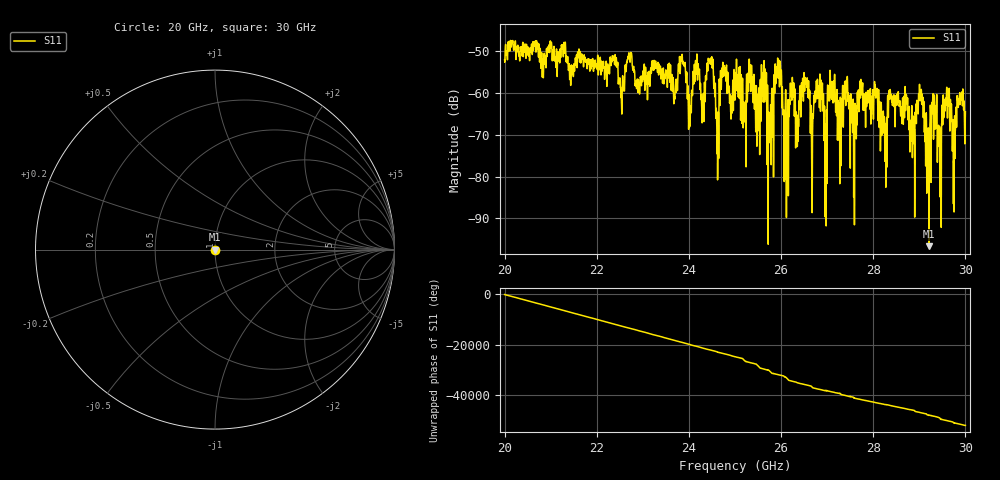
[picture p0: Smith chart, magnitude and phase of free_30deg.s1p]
#  HZ  S  RI  R  50.00
! Rohde & Schwarz ZVA40 4Ports - Version 3.90 - 1145.1110k42 SN: 100403
! Date: 2023-09-30 07:36:56
! Measurement: S12
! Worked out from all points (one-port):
!   5001 points, 20 GHz to 30 GHz, reference 50 ohm
!   lowest |S11| = -96.6 dB at 29.21 GHz (marker M1), VSWR 1.00, Z = 50 + j0.000425 ohm
!   |S11| at or under -10 dB: start of sweep to end of sweep
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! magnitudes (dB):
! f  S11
! 20 GHz  -52.1
! 21.25 GHz  -49.5
! 22.5 GHz  -56.9
! 22.71 GHz  -51.0
! 23.75 GHz  -59.4
! 23.87 GHz  -52.4
! 24.03 GHz  -63.6
! 24.18 GHz  -55.4
! 24.31 GHz  -62.3
! 24.47 GHz  -51.7
! 24.6 GHz  -67.4
! 24.73 GHz  -55.1
! 25 GHz  -60.1
! 25.49 GHz  -60.3
! 25.62 GHz  -60.6
! 25.77 GHz  -69.4
! 25.94 GHz  -56.5
! 26.11 GHz  -67.3
! 26.25 GHz  -57.8
! 26.68 GHz  -75.8
! 26.8 GHz  -61.3
! 26.95 GHz  -80.1
! 27.06 GHz  -55.1
! 27.5 GHz  -74.4
! 28.75 GHz  -62.7
! 29.03 GHz  -61.2
! 29.21 GHz  -96.6
! 30 GHz  -64.5
